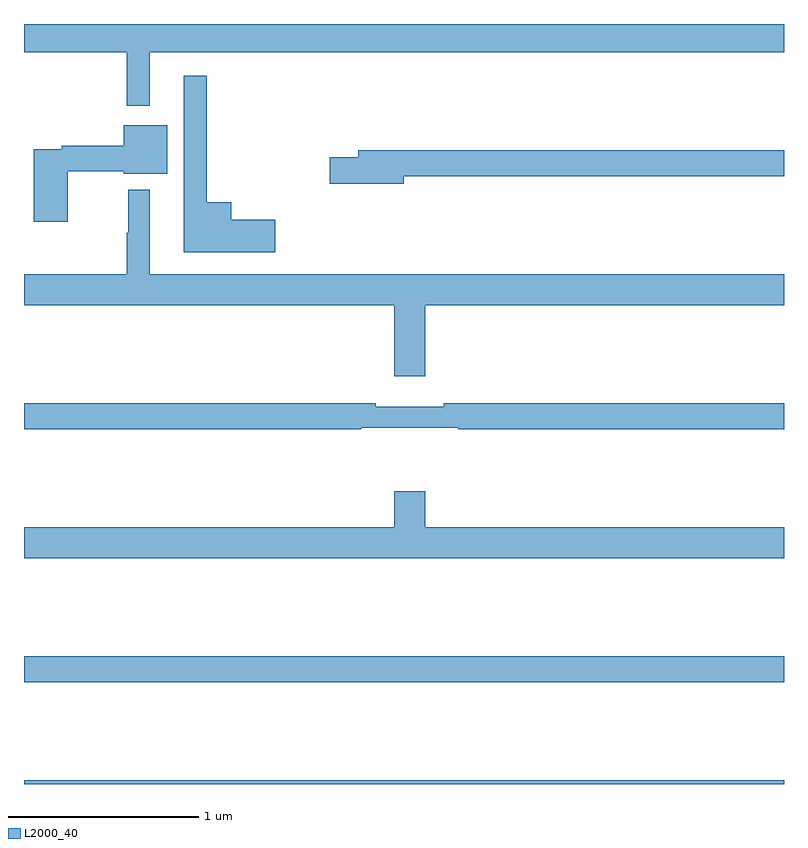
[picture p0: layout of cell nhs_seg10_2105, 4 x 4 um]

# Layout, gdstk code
import gdstk
lib = gdstk.Library(unit=1e-6, precision=1e-09)
def R(c, l, rs):  # rectangles x0, y0, x1, y1
    for r in rs: c.add(gdstk.rectangle(r[:2], r[2:], *l))
def P(c, l, *ps):  # polygons
    for p in ps: c.add(gdstk.Polygon(p, *l))
L2000_40 = (2000, 40)

nhs_seg10_2105 = lib.new_cell('nhs_seg10_2105')
R(nhs_seg10_2105, L2000_40, [(223,1260.5,227,1260.52), (223,1261.036,227,1261.172)])
P(nhs_seg10_2105, L2000_40, [(223.663,1264.352),(227,1264.352),(227,1264.5),(223,1264.5),(223,1264.352),(223.542,1264.352),(223.542,1264.071),(223.663,1264.071)],
  [(224.323,1263.47),(224.092,1263.47),(224.092,1263.562),(223.963,1263.562),(223.963,1264.228),(223.841,1264.228),(223.841,1263.299),(224.323,1263.299)],
  [(223.23,1263.724),(223.526,1263.724),(223.526,1263.713),(223.753,1263.713),(223.753,1263.967),(223.526,1263.967),(223.526,1263.86),(223.198,1263.86),(223.198,1263.84),(223.052,1263.84),(223.052,1263.459),(223.23,1263.459)],
  [(224.998,1263.7),(227,1263.7),(227,1263.836),(224.759,1263.836),(224.759,1263.8),(224.61,1263.8),(224.61,1263.658),(224.998,1263.658)],
  [(225.112,1263.02),(227,1263.02),(227,1263.184),(223.663,1263.184),(223.663,1263.628),(223.549,1263.628),(223.549,1263.401),(223.542,1263.401),(223.542,1263.184),(223,1263.184),(223,1263.02),(224.948,1263.02),(224.948,1262.646),(225.112,1262.646)],
  [(224.774,1262.376),(225.286,1262.376),(225.286,1262.368),(227,1262.368),(227,1262.504),(225.208,1262.504),(225.208,1262.485),(224.852,1262.485),(224.852,1262.504),(223,1262.504),(223,1262.368),(224.774,1262.368)],
  [(227,1261.852),(225.112,1261.852),(225.112,1262.041),(224.948,1262.041),(224.948,1261.852),(223,1261.852),(223,1261.688),(227,1261.688)])

lib.write_gds('nhs_seg10_2105.gds')
